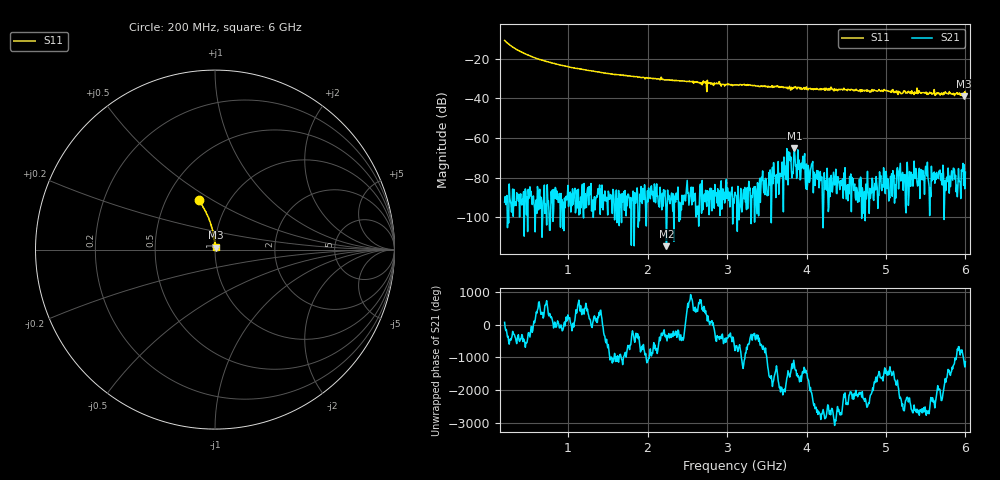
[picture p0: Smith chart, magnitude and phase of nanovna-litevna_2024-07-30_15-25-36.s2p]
! NanoVNA-App by OneOfEleven et al v1.1.209 (+OD15)
! Date: 2024-07-30 15:25:41
! Start: 200MHz Stop: 6GHz Points: 801
! S-Parameter data: F S11 S21 S12 S22
# Hz S RI R 50
!  Frequency  S11_Real  S11_Imag  S21_Real  S21_Imag  S12_Real  S12_Imag  S22_Real  S22_Imag
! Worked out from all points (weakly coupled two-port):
!   801 points, 200 MHz to 6 GHz, reference 50 ohm
!   highest |S21| = -65.29 dB at 3.847 GHz (marker M1); lowest = -114.7 dB at 2.237 GHz (marker M2)
!   lowest |S11| = -38.8 dB at 5.986 GHz (marker M3), VSWR 1.02, Z = 50.4 + j1.09 ohm
!   |S11| at or under -10 dB: start of sweep to end of sweep
!   S12 and S22 are empty: the file has one direction only
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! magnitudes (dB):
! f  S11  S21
! 200 MHz  -10.8  -92.4
! 591.5 MHz  -19.7  -93.3
! 1.171 GHz  -25.3  -86.5
! 2.136 GHz  -30.1  -93.2
! 2.237 GHz  -30.7  -114.7
! 3.1 GHz  -33.1  -87.5
! 3.68 GHz  -34.5  -79.6
! 3.781 GHz  -34.2  -67.9
! 3.847 GHz  -34.6  -65.3
! 3.869 GHz  -34.6  -73.6
! 3.97 GHz  -34.6  -70.5
! 4.013 GHz  -35.3  -83.4
! 4.072 GHz  -35.2  -73.0
! 4.188 GHz  -35.2  -79.9
! 5.036 GHz  -36.5  -91.9
! 5.166 GHz  -37.2  -79.2
! 5.217 GHz  -37.1  -86.5
! 5.492 GHz  -37.4  -77.2
! 5.558 GHz  -37.4  -85.5
! 5.913 GHz  -37.8  -75.5
! 5.986 GHz  -38.8  -73.6
! 6 GHz  -37.3  -77.3
